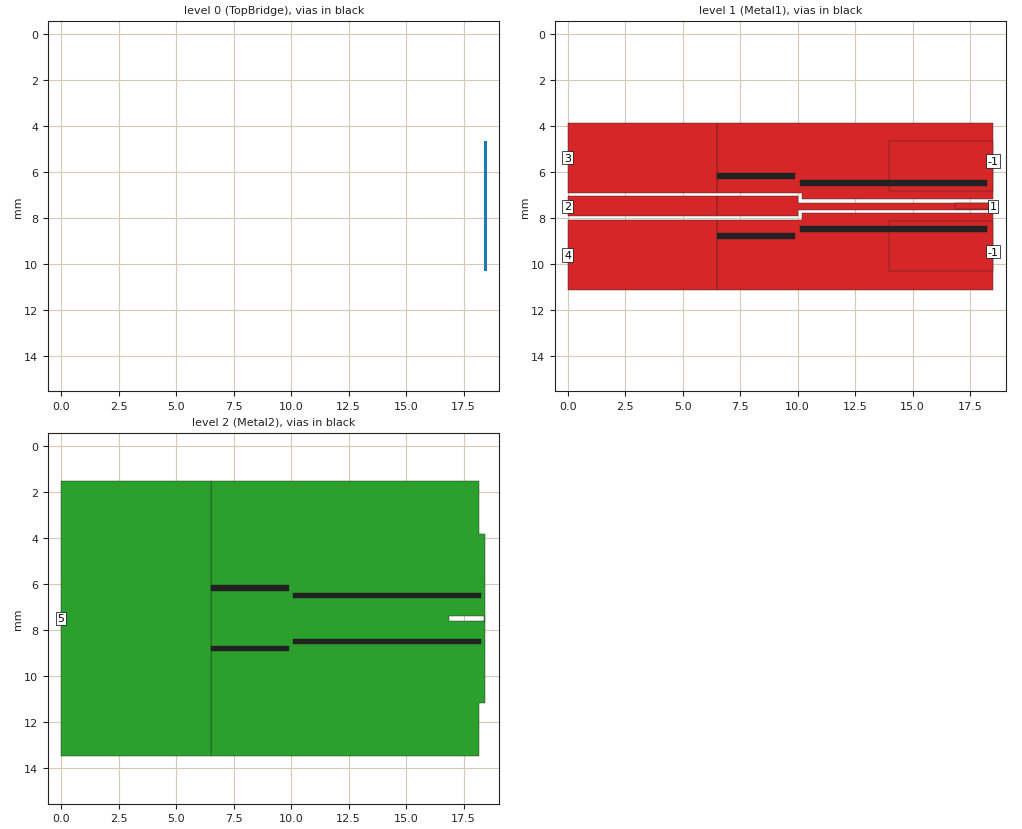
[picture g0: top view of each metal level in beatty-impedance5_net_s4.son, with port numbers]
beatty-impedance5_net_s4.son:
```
FTYP SONPROJ 19 ! Sonnet Project File
VER 18.01
HEADER
LIC antikernel2.1.51012 90e2ba8817c1 havequick azonenberg Level3Gold
DAT 08/25/2021 18:15:55
BUILT_BY_CREATED dxf 17.52.2 05/01/2020 05:35:06
BUILT_BY_SAVED sonnet 18.01
MDATE 08/25/2021 18:15:55
HDATE 08/25/2021 18:15:55
ANN Created by dxfgeo, Sonnet Software Inc.
END HEADER
DIM
ANG DEG
CAP PF
CON /OH
FREQ GHZ
IND NH
LNG MM
RES OH
END DIM
CONTROL
ABS
OPTIONS  -dj
SPEED 1
CACHE_ABS 1
Q_ACC N
END CONTROL
GEO
DRP1 LEFT LINK
POLY 8486 1
0
DRP1 RIGHT NONE 10
TMET "Free Space" 0 FREESPACE 376.7303136 0 0 0
BMET "Free Space" 0 FREESPACE 376.7303136 0 0 0
MET "Copper 1oz thick" 2 TMM 58000000 0.5 0.035 2
MET "Nickel " 3 TMM 14300000 0.5 3.5e-05 2
MET "Copper 0.5oz" 1 NOR 58000000 0.5 0.0175 
MET "Unknown_metal" 1 NOR INF 0.5 0 
MET "Copper 0.25mm thick" 4 TMM 58000000 0.5 0.25 2
MET "Brass 0.8mm" 11 TMM 15700000 0.5 0.8 2
MET "Copper_0.5oz" 1 NOR 58000000 0.5 0.0175 
MET "Copper_1oz_thick" 2 TMM 58000000 0.5 0.035 2
MET "Copper_0.25mm_thick" 4 TMM 58000000 0.5 0.25 2
MET "Brass_0.8mm" 11 TMM 15700000 0.5 0.8 2
MET "Nickel_" 1 NOR 14300000 0.5 0 
MET "Unknown_metal" 1 VOL INF 0
BRI "Alumina (96%)" 0 9.4 0.0004 0 
BRI "Alumina (99.5%)" 0 9.9 0.0001 0 
BRI "Aluminum Nitride" 0 8.6 0.0003 0 
BRI "Arlon 25FR" 0 3.58 0.0035 0 
BRI "Arlon 25N" 0 3.38 0.0025 0 
BRI "Arlon AD5" 0 5.1 0.003 0 
BRI "Arlon AD10" 0 10.2 0.005 0 
BRI "Arlon AD250" 0 2.5 0.0018 0 
BRI "Arlon AD255A" 0 2.55 0.0015 0 
BRI "Arlon AD260A" 0 2.6 0.0018 0 
BRI "Arlon AD270" 0 2.7 0.0023 0 
BRI "Arlon AD300A" 0 3 0.002 0 
BRI "Arlon AD320A" 0 3.2 0.0032 0 
BRI "Arlon AD350A" 0 3.5 0.003 0 
BRI "Arlon AD410" 0 4.1 0.003 0 
BRI "Arlon AD430" 0 4.3 0.003 0 
BRI "Arlon AD450" 0 4.5 0.0035 0 
BRI "Arlon AD600" 0 6.15 0.003 0 
BRI "Arlon AD1000" 0 10.2 0.0023 0 
BRI "Arlon AR1000" 0 9.8 0.003 0 
BRI "Arlon CLTE" 0 2.96 0.0023 0 
BRI "Arlon CLTE-AT" 0 3 0.0013 0 
BRI "Arlon CLTE-P" 0 2.94 0.0025 0 
BRI "Arlon CLTE-XT" 0 2.94 0.0012 0 
BRI "Arlon Cu 217LX" 0 2.17 0.0009 0 
BRI "Arlon Cu 233LX" 0 2.33 0.0013 0 
BRI "Arlon Cu 250GT" 0 2.5 0.001 0 
BRI "Arlon Cu 250GX" 0 2.5 0.0018 0 
BRI "Arlon Cu 6250" 0 2.32 0.0013 0 
BRI "Arlon Cu 6700" 0 2.35 0.0025 0 
BRI "Arlon Di 522" 0 2.5 0.001 0 
BRI "Arlon Di 527" 0 2.5 0.0018 0 
BRI "Arlon Di 870" 0 2.33 0.0013 0 
BRI "Arlon Di 880" 0 2.17 0.0009 0 
BRI "Arlon Iso 917" 0 2.17 0.0013 0 
BRI "Arlon Iso 933" 0 2.33 0.0016 0 
BRI "Arlon Multi HF" 0 3.7 0.004 0 
BRI "Arlon TC350" 0 3.5 0.002 0 
BRI "Arlon TC600" 0 6.15 0.002 0 
BRI "Beryllia (99.5%)" 0 6.5 0.0004 0 
BRI "CEM-1" 0 4.5 0.02 0 
BRI "CEM-3" 0 4.5 0.02 0 
BRI "Dupont 9K7" 0 7.1 0.0012 0 
BRI "Dupont 943" 0 7.4 0.002 0 
BRI "Dupont 951" 0 7.8 0.006 0 
BRI "Dupont FEP" 0 2 0.0005 0 
BRI "Dupont Vacrel" 0 3.8 0.011 0 
BRI "ESL 41010" 0 7.5 0.005 0 
BRI "ESL 41020" 0 7.25 0.005 0 
BRI "ESL 41050" 0 13.5 0.002 0 
BRI "ESL 41060" 0 16.5 0.002 0 
BRI "ESL 41110" 0 4.5 0.004 0 
BRI "Ferro A6M" 0 5.9 0.002 0 
BRI "Ferro A6S" 0 5.9 0.002 0 
BRI "Ferro L8" 0 7.3 0.0018 0 
BRI "FR-4" 0 4.4 0.02 0 
BRI "G-10" 0 4.8 0.025 0 
BRI "Gallium Arsenide" 0 12.9 0.006 0 
BRI "Gallium Nitride" 0 9.7 0 0 
BRI "Glass (Pyrex)" 0 4.82 0.0054 0 
BRI "Heraeus HL2000" 0 7.3 0.0026 0 
BRI "Isola 370HR" 0 4.04 0.021 0 
BRI "Isola FR408" 0 3.77 0.0116 0 
BRI "Isola FR408HR" 0 3.68 0.0092 0 
BRI "Isola Getek" 0 3.6 0.01 0 
BRI "Isola GI-180" 0 3.7 0.013 0 
BRI "Isola IS415" 0 3.82 0.0125 0 
BRI "Isola IS620i" 0 3.58 0.006 0 
BRI "Isola IS680-280" 0 2.8 0.0025 0 
BRI "Isola IS680-300" 0 3 0.003 0 
BRI "Isola IS680-320" 0 3.2 0.003 0 
BRI "Isola IS680-333" 0 3.33 0.003 0 
BRI "Isola IS680-338" 0 3.38 0.0032 0 
BRI "Isola IS680-345" 0 3.45 0.0036 0 
BRI "Kerafol CT800" 0 5.3 0.008 0 
BRI "Nelco MW9350" 0 3.7 0.004 0 
BRI "Nelco N4000-12" 0 3.7 0.008 0 
BRI "Nelco N4000-13" 0 3.7 0.009 0 
BRI "Nelco N4000-13SI" 0 3.2 0.007 0 
BRI "Nelco N4000-13EP" 0 3.7 0.008 0 
BRI "Nelco N4350-13RF" 0 3.5 0.0065 0 
BRI "Nelco N4380-13RF" 0 3.8 0.007 0 
BRI "Nelco N9300-13RF" 0 3 0.004 0 
BRI "Nelco N9320-13RF" 0 3.2 0.0045 0 
BRI "Nelco N9338-13RF" 0 3.38 0.0046 0 
BRI "Nelco N9350-13RF" 0 3.48 0.0055 0 
BRI "Nelco NH9294" 0 2.94 0.0022 0 
BRI "Nelco NH9300" 0 3 0.0023 0 
BRI "Nelco NH9320" 0 3.2 0.0024 0 
BRI "Nelco NH9338" 0 3.38 0.0025 0 
BRI "Nelco NH9348" 0 3.48 0.003 0 
BRI "Nelco NH9350" 0 3.5 0.003 0 
BRI "Nelco NH9410" 0 4.1 0.003 0 
BRI "Nelco NH9450" 0 4.5 0.003 0 
BRI "Nelco NX9240" 0 2.4 0.0016 0 
BRI "Nelco NX9245" 0 2.45 0.0016 0 
BRI "Nelco NX9250" 0 2.5 0.0017 0 
BRI "Nelco NX9255" 0 2.55 0.0018 0 
BRI "Nelco NX9260" 0 2.6 0.0019 0 
BRI "Nelco NY9208" 0 2.08 0.0006 0 
BRI "Nelco NY9217" 0 2.17 0.0008 0 
BRI "Nelco NY9220" 0 2.2 0.0009 0 
BRI "Nelco NY9233" 0 2.33 0.0011 0 
BRI "PET" 0 3.37 0.0208 0 
BRI "Polyimide" 0 3.5 0.003 0 
BRI "Quartz (Fused)" 0 3.78 0.0001 0 
BRI "Rogers 3001" 0 2.28 0.003 0 
BRI "Rogers RO2808" 0 7.6 0.0015 0 
BRI "Rogers RO3003" 0 3 0.0013 0 
BRI "Rogers RO3006" 0 6.5 0.002 0 
BRI "Rogers RO3010" 0 11.2 0.0022 0 
BRI "Rogers RO3035" 0 3.6 0.0018 0 
BRI "Rogers RO3203" 0 3.02 0.0016 0 
BRI "Rogers RO3206" 0 6.6 0.0027 0 
BRI "Rogers RO3210" 0 10.8 0.0027 0 
BRI "Rogers RO3730" 0 3 0.0016 0 
BRI "Rogers RO4003C" 0 3.55 0.0029 0 
BRI "Rogers RO4533" 0 3.45 0.0029 0 
BRI "Rogers RO4534" 0 3.4 0.003 0 
BRI "Rogers RO4350B" 0 3.66 0.0037 0 
BRI "Rogers RO4350BTX" 0 3.66 0.0034 0 
BRI "Rogers RO4360" 0 6.15 0.0038 0 
BRI "Rogers RO4450B-3.6" 0 3.3 0.0043 0 
BRI "Rogers RO4450B-4" 0 3.54 0.004 0 
BRI "Rogers RO4450F" 0 3.52 0.0041 0 
BRI "Rogers RO4730" 0 3 0.0033 0 
BRI "Rogers RT5870" 0 2.33 0.0012 0 
BRI "Rogers RT5880" 0 2.2 0.0009 0 
BRI "Rogers RT5880LZ" 0 1.96 0.0019 0 
BRI "Rogers RT6002" 0 2.94 0.0012 0 
BRI "Rogers RT6006" 0 6.15 0.0027 0 
BRI "Rogers RT6010LM" 0 10.9 0.0023 0 
BRI "Rogers RT6035HTC" 0 3.6 0.0013 0 
BRI "Rogers RT6202" 0 2.94 0.0015 0 
BRI "Rogers RT6202PR" 0 2.95 0.0015 0 
BRI "Rogers Syron7000" 0 3.4 0.0045 0 
BRI "Rogers Syron7100-2" 0 3.61 0.006 0 
BRI "Rogers Syron7100-4" 0 3.39 0.005 0 
BRI "Rogers Theta" 0 4.01 0.0118 0 
BRI "Rogers TMM 3" 0 3.39 0.002 0 
BRI "Rogers TMM 4" 0 4.5 0.002 0 
BRI "Rogers TMM 6" 0 6 0.0023 0 
BRI "Rogers TMM 10" 0 9.56 0.0022 0 
BRI "Rogers TMM 10i" 0 9.96 0.002 0 
BRI "Rogers UL2000" 0 2.5 0.0019 0 
BRI "Rogers UL3850" 0 3.05 0.0025 0 
BRI "Rogers UL3908" 0 2.9 0.0025 0 
BRI "Rogers XT8000" 0 3.34 0.0035 0 
BRI "Rogers XT8100-2" 0 3.54 0.0049 0 
BRI "Rogers XT8100-4" 0 3.32 0.0038 0 
BRI "Silicon (intrinsic)" 0 11.9 0.004 0.00044 
BRI "Silicon Dioxide" 0 3.9 0 0 
BRI "Silicon Nitride" 0 7.5 0 0 
BRI "Taconic CER-10" 0 10 0.0035 0 
BRI "Taconic FastFilm" 0 2.7 0.0012 0 
BRI "Taconic Fastrise-DS" 0 2.96 0.0018 0 
BRI "Taconic Fastrise27" 0 2.7 0.0014 0 
BRI "Taconic Fastrise77" 0 7.7 0.0034 0 
BRI "Taconic FEP" 0 2 0.0003 0 
BRI "Taconic RF-30" 0 3 0.0014 0 
BRI "Taconic RF-35" 0 3.5 0.0018 0 
BRI "Taconic RF-35A2" 0 3.5 0.0011 0 
BRI "Taconic RF-35P" 0 3.5 0.0025 0 
BRI "Taconic RF-41" 0 4.1 0.0038 0 
BRI "Taconic RF-43" 0 4.3 0.0033 0 
BRI "Taconic RF-45" 0 4.5 0.0037 0 
BRI "Taconic RF-60A" 0 6.15 0.0038 0 
BRI "Taconic RF-301" 0 2.97 0.0012 0 
BRI "Taconic TacBond HT" 0 2.35 0.0025 0 
BRI "Taconic TLA-6" 0 2.62 0.0012 0 
BRI "Taconic TLC-27" 0 2.75 0.003 0 
BRI "Taconic TLC-30" 0 3 0.003 0 
BRI "Taconic TLC-32" 0 3.2 0.003 0 
BRI "Taconic TLE-95" 0 2.95 0.0028 0 
BRI "Taconic TLF-34" 0 3.4 0.002 0 
BRI "Taconic TLF-35" 0 3.5 0.002 0 
BRI "Taconic TLP-3" 0 2.33 0.0009 0 
BRI "Taconic TLP-5" 0 2.2 0.0009 0 
BRI "Taconic TLP-5A" 0 2.17 0.0009 0 
BRI "Taconic TLT-0" 0 2.45 0.0006 0 
BRI "Taconic TLT-9" 0 2.5 0.0006 0 
BRI "Taconic TLT-8" 0 2.55 0.0006 0 
BRI "Taconic TLT-7" 0 2.6 0.0006 0 
BRI "Taconic TLT-6" 0 2.65 0.0006 0 
BRI "Taconic TLX-0" 0 2.45 0.0019 0 
BRI "Taconic TLX-9" 0 2.5 0.0019 0 
BRI "Taconic TLX-8" 0 2.55 0.0019 0 
BRI "Taconic TLX-7" 0 2.6 0.0019 0 
BRI "Taconic TLX-6" 0 2.65 0.0019 0 
BRI "Taconic TLY-3" 0 2.33 0.0009 0 
BRI "Taconic TLY-3F" 0 2.33 0.0009 0 
BRI "Taconic TLY-5" 0 2.2 0.0009 0 
BRI "Taconic TLY-5-L" 0 2.2 0.0009 0 
BRI "Taconic TLY-5A" 0 2.17 0.0009 0 
BRI "Taconic TLY-5A-L" 0 2.17 0.0009 0 
BRI "Taconic TPG-30" 0 3 0.0038 0 
BRI "Taconic TPG-32" 0 3.2 0.005 0 
BRI "Taconic TPG-35" 0 3.5 0.005 0 
BRI "Taconic TRF-41" 0 4.1 0.0035 0 
BRI "Taconic TRF-43" 0 4.3 0.0035 0 
BRI "Taconic TRF-45" 0 4.5 0.0035 0 
BRI "Taconic TSM-DS" 0 2.85 0.001 0 
BRI "Taconic TSM-DS3" 0 3 0.0011 0 
BRI "Taconic TSM-26" 0 2.6 0.0014 0 
BRI "Taconic TSM-29" 0 2.94 0.0013 0 
BRI "Taconic TSM-30" 0 3 0.0013 0 
BRI "Teflon (PTFE)" 0 2.08 0.0004 0 
BOX 3 18.5 15 1480 6000 20 0
      10 1 1 0 0 0 0 "Air"
      0.8 1 1 0 0 0 0 "Air"
      0.166 3.66 1 0.0037 0 0 0 "Rogers RO4350B"
      10 1 1 0 0 0 0 "Air"
TECHLAY METAL TopBridge <UNSPECIFIED> -1 -65534 
0 0 6 N 3190 1 1 100 100 0 0 0 Y
END
END
TECHLAY VIA Via2 <UNSPECIFIED> -6 -65534 
VIA POLYGON
0 0 -1 N 8447 1 1 100 100 0 0 0 Y
TOLEVEL 1 RING NOCOVERS
END
END
TECHLAY METAL Metal1 BLACK -2 -65534 
1 0 7 N 3195 1 1 100 100 0 0 0 Y
END
END
TECHLAY METAL CenterPin <UNSPECIFIED> -3 -65534 
1 0 8 N 3201 1 1 100 100 0 0 0 Y
END
END
TECHLAY METAL ConnBody <UNSPECIFIED> -4 -65534 
1 0 9 N 3203 1 1 100 100 0 0 0 Y
END
END
TECHLAY VIA Via1 <UNSPECIFIED> -7 -65534 
VIA POLYGON
1 0 -1 N 8453 1 1 100 100 0 0 0 Y
TOLEVEL 2 RING NOCOVERS
END
END
TECHLAY METAL Metal2 BLACK -5 -65534 
2 0 6 N 3208 1 1 100 100 0 0 0 Y
END
END
VALVAR BOTLEN LNG 2 "Variable set in material file"
VALVAR TOPLEN LNG 3 "Variable set in material file"
VALVAR RESLEN LNG 33 "Dim. Param. RESLEN"
VALVAR WIDTH25 LNG 0.89 "Dim. Param. WIDTH25"
LORGN 0 160 U 
POR1 BOX
POLY 8462 1
1
1 50 0 0 0 18.5 7.5 
POR1 BOX
POLY 8465 1
5
-1 50 0 0 0 18.5 5.53 
POR1 BOX
POLY 8468 1
5
-1 50 0 0 0 18.5 9.47 
POR1 STD
POLY 8482 1
1
2 50 0 0 0 0 7.5 
POR1 STD
POLY 8484 1
1
3 50 0 0 0 0 5.385 
POR1 STD
POLY 8485 1
1
4 50 0 0 0 0 9.615 
POR1 STD
POLY 8486 1
1
5 50 0 0 0 0 7.495 
NUM 18
0 5 6 N 8461 1 1 100 100 0 0 0 Y
TLAYNAM TopBridge INH
18.5 4.665
18.375 4.665
18.375 10.325
18.5 10.325
18.5 4.665
END
VIA POLYGON
0 5 -1 N 8476 1 1 100 100 0 0 0 Y
TOLEVEL 1 RING NOCOVERS
TLAYNAM Via2 INH
18.45 10.29
18.425 10.29
18.425 8.17
18.45 8.17
18.45 10.29
END
VIA POLYGON
0 5 -1 N 8477 1 1 100 100 0 0 0 Y
TOLEVEL 1 RING NOCOVERS
TLAYNAM Via2 INH
18.45 4.71
18.425 4.71
18.425 6.83
18.45 6.83
18.45 4.71
END
1 9 7 N 8462 1 1 100 100 0 0 0 Y
TLAYNAM Metal1 INH
USER_DAT FromImport
10 7.655
18.5 7.655
18.5 7.345
10 7.345
10 7.055
6.5 7.055
6.5 7.945
10 7.945
10 7.655
END
1 7 7 N 8465 1 1 100 100 0 0 0 Y
TLAYNAM Metal1 INH
18.5 3.865
6.5 3.865
6.5 6.905
10.2 6.905
10.2 7.195
18.5 7.195
18.5 3.865
END
1 7 7 N 8468 1 1 100 100 0 0 0 Y
TLAYNAM Metal1 INH
18.5 11.135
6.5 11.135
6.5 8.095
10.2 8.095
10.2 7.805
18.5 7.805
18.5 11.135
END
1 5 8 N 8471 1 1 100 100 0 0 0 Y
TLAYNAM CenterPin INH
18.5 7.37
16.85 7.37
16.85 7.62
18.5 7.62
18.5 7.37
END
1 5 9 N 8472 1 1 100 100 0 0 0 Y
TLAYNAM ConnBody INH
18.5 8.13
13.95 8.13
13.95 10.325
18.5 10.325
18.5 8.13
END
1 5 9 N 8473 1 1 100 100 0 0 0 Y
TLAYNAM ConnBody INH
18.5 4.665
13.95 4.665
13.95 6.86
18.5 6.86
18.5 4.665
END
VIA POLYGON
1 5 -1 N 8478 1 1 100 100 0 0 0 Y
TOLEVEL 2 RING NOCOVERS
TLAYNAM Via1 INH
USER_DAT FromImport
9.9 6.065
6.5 6.065
6.5 6.315
9.9 6.315
9.9 6.065
END
VIA POLYGON
1 5 -1 N 8479 1 1 100 100 0 0 0 Y
TOLEVEL 2 RING NOCOVERS
TLAYNAM Via1 INH
USER_DAT FromImport
9.9 8.685
6.5 8.685
6.5 8.935
9.9 8.935
9.9 8.685
END
VIA POLYGON
1 5 -1 N 8480 1 1 100 100 0 0 0 Y
TOLEVEL 2 RING NOCOVERS
TLAYNAM Via1 INH
USER_DAT FromImport
18.25 8.375
10.1 8.375
10.1 8.625
18.25 8.625
18.25 8.375
END
VIA POLYGON
1 5 -1 N 8481 1 1 100 100 0 0 0 Y
TOLEVEL 2 RING NOCOVERS
TLAYNAM Via1 INH
USER_DAT FromImport
18.25 6.375
10.1 6.375
10.1 6.625
18.25 6.625
18.25 6.375
END
1 5 -1 N 8482 1 1 100 100 0 0 0 Y
USER_DAT FromImport
6.5 7.055
0 7.055
0 7.945
6.5 7.945
6.5 7.055
END
1 5 -1 N 8484 1 1 100 100 0 0 0 Y
6.5 3.865
0 3.865
0 6.905
6.5 6.905
6.5 3.865
END
1 5 -1 N 8485 1 1 100 100 0 0 0 Y
6.5 11.135
0 11.135
0 8.095
6.5 8.095
6.5 11.135
END
2 18 6 N 8474 1 1 100 100 0 0 0 Y
TLAYNAM Metal2 INH
18.1875 11.16
18.45 11.16
18.45 7.62
18.375 7.62
16.85 7.62
16.85 7.38
18.375 7.38
18.375 7.62
18.45 7.62
18.45 7.62
18.45 7.11
18.45 3.84
18.1875 3.84
18.1875 1.52
6.5 1.52
6.5 13.47
18.1875 13.47
18.1875 11.16
END
2 5 -1 N 8486 1 1 100 100 0 0 0 Y
6.5 1.52
0 1.52
0 13.47
6.5 13.47
6.5 1.52
END
END GEO
VARSWP
ENABLED Y
FREQ Y AY ABS_ENTRY 0.01 20.0 -1 300 
END
END VARSWP
```
